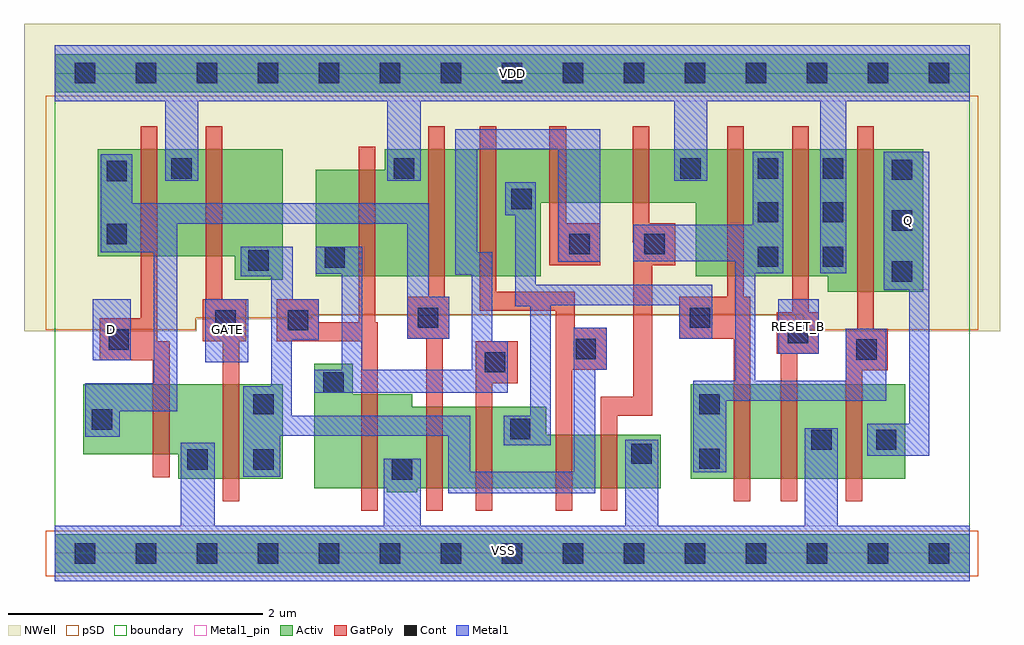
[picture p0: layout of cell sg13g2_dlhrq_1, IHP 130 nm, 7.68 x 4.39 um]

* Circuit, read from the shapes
.subckt sg13g2_dlhrq_1 D GATE Q RESET_B VDD VSS
XM1 VSS D n1 VSS sg13_lv_nmos w=0.55u l=0.13u
XM2 n2 GATE VSS VSS sg13_lv_nmos w=0.74u l=0.13u
XM3 VSS n2 n3 VSS sg13_lv_nmos w=0.74u l=0.13u
XM4 n4 n1 VSS VSS sg13_lv_nmos w=0.64u l=0.13u
XM5 n5 n3 n4 VSS sg13_lv_nmos w=0.64u l=0.13u
XM6 n6 n2 n5 VSS sg13_lv_nmos w=0.42u l=0.13u
XM7 VSS n7 n6 VSS sg13_lv_nmos w=0.42u l=0.13u
XM8 n8 n5 n7 VSS sg13_lv_nmos w=0.74u l=0.13u
XM9 VSS RESET_B n8 VSS sg13_lv_nmos w=0.74u l=0.13u
XM10 Q n7 VSS VSS sg13_lv_nmos w=0.74u l=0.13u
XM11 VDD D n1 VDD sg13_lv_pmos w=0.84u l=0.13u
XM12 n2 GATE VDD VDD sg13_lv_pmos w=0.84u l=0.13u
XM13 VDD n2 n3 VDD sg13_lv_pmos w=0.84u l=0.13u
XM14 n9 n1 VDD VDD sg13_lv_pmos w=1u l=0.13u
XM15 n5 n2 n9 VDD sg13_lv_pmos w=1u l=0.13u
XM16 n10 n3 n5 VDD sg13_lv_pmos w=0.42u l=0.13u
XM17 VDD n7 n10 VDD sg13_lv_pmos w=0.42u l=0.13u
XM18 n7 n5 VDD VDD sg13_lv_pmos w=1u l=0.13u
XM19 VDD RESET_B n7 VDD sg13_lv_pmos w=1u l=0.13u
XM20 Q n7 VDD VDD sg13_lv_pmos w=1.12u l=0.13u
.ends

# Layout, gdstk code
import gdstk
lib = gdstk.Library(unit=1e-6, precision=1e-09)
def R(c, l, rs):  # rectangles x0, y0, x1, y1
    for r in rs: c.add(gdstk.rectangle(r[:2], r[2:], *l))
def A(c, l, x, y, w, h, nx, ny, dx, dy):  # array of equal rectangles
    R(c, l, [(x+i*dx, y+j*dy, x+i*dx+w, y+j*dy+h) for i in range(nx) for j in range(ny)])
def P(c, l, *ps):  # polygons
    for p in ps: c.add(gdstk.Polygon(p, *l))
Activ = (1, 0)
GatPoly = (5, 0)
Cont = (6, 0)
Metal1 = (8, 0)
Metal1_pin = (8, 2)
pSD = (14, 0)
NWell = (31, 0)
boundary = (189, 4)

sg13g2_dlhrq_1 = lib.new_cell('sg13g2_dlhrq_1')
R(sg13g2_dlhrq_1, Activ, [(0,-0.15,7.2,0.15), (5.005,0.59,6.695,1.33), (0,3.63,7.2,3.93)])
P(sg13g2_dlhrq_1, Activ, [(6.085,2.06),(6.085,2.18),(5.045,2.18),(5.045,2.76),(3.825,2.76),(3.825,2.18),(2.055,2.18),(2.055,3.02),(2.6,3.02),(2.6,3.18),(6.835,3.18),(6.835,2.06)],
  [(2.615,0.48),(2.615,0.515),(2.045,0.515),(2.045,1.495),(2.345,1.495),(2.345,1.255),(2.815,1.255),(2.815,1.155),(3.87,1.155),(3.87,0.935),(4.77,0.935),(4.77,0.515),(2.855,0.515),(2.855,0.48)],
  [(0.975,0.59),(0.975,0.78),(0.225,0.78),(0.225,1.33),(1.795,1.33),(1.795,0.59)],
  [(1.42,2.155),(1.42,2.34),(0.34,2.34),(0.34,3.18),(1.795,3.18),(1.795,2.155)])
P(sg13g2_dlhrq_1, GatPoly, [(6.225,0.41),(6.225,1.77),(6.315,1.77),(6.315,3.36),(6.445,3.36),(6.445,1.77),(6.555,1.77),(6.555,1.44),(6.355,1.44),(6.355,0.41)],
  [(5.715,0.41),(5.715,1.57),(5.685,1.57),(5.685,1.9),(5.805,1.9),(5.805,3.36),(5.935,3.36),(5.935,1.9),(6.015,1.9),(6.015,1.57),(5.845,1.57),(5.845,0.41)],
  [(5.345,0.41),(5.345,1.69),(4.915,1.69),(4.915,2.02),(5.295,2.02),(5.295,3.36),(5.425,3.36),(5.425,2.02),(5.475,2.02),(5.475,0.41)],
  [(4.3,0.335),(4.3,1.235),(4.555,1.235),(4.555,2.45),(4.55,2.45),(4.55,3.36),(4.68,3.36),(4.68,2.6),(4.885,2.6),(4.885,2.27),(4.705,2.27),(4.705,1.085),(4.43,1.085),(4.43,0.335)],
  [(3.945,0.335),(3.945,1.91),(3.345,1.91),(3.345,3.36),(3.475,3.36),(3.475,2.06),(4.095,2.06),(4.095,1.775),(4.345,1.775),(4.345,1.445),(4.075,1.445),(4.075,0.335)],
  [(3.895,2.27),(3.895,3.36),(4.025,3.36),(4.025,2.6),(4.295,2.6),(4.295,2.27)],
  [(3.315,0.335),(3.315,1.67),(3.645,1.67),(3.645,1.34),(3.445,1.34),(3.445,0.335)],
  [(2.925,0.335),(2.925,1.69),(2.775,1.69),(2.775,2.02),(2.94,2.02),(2.94,3.36),(3.07,3.36),(3.07,2.02),(3.105,2.02),(3.105,1.69),(3.055,1.69),(3.055,0.335)],
  [(2.415,0.335),(2.415,1.67),(1.75,1.67),(1.75,2),(2.08,2),(2.08,1.82),(2.395,1.82),(2.395,3.2),(2.525,3.2),(2.525,1.82),(2.545,1.82),(2.545,0.335)],
  [(1.325,0.41),(1.325,1.67),(1.165,1.67),(1.165,2),(1.19,2),(1.19,3.36),(1.32,3.36),(1.32,2),(1.51,2),(1.51,1.67),(1.455,1.67),(1.455,0.41)],
  [(0.775,0.6),(0.775,1.52),(0.355,1.52),(0.355,1.85),(0.68,1.85),(0.68,3.36),(0.81,3.36),(0.81,1.67),(0.905,1.67),(0.905,0.6)])
A(sg13g2_dlhrq_1, Cont, 0.16, -0.08, 0.16, 0.16, 15, 2, 0.48, 3.78)
A(sg13g2_dlhrq_1, Cont, 6.59, 2.14, 0.16, 0.16, 1, 3, 0, 0.4)
R(sg13g2_dlhrq_1, Cont, [(2.655,0.58,2.815,0.74), (1.045,0.66,1.205,0.82), (1.565,0.66,1.725,0.82), (5.075,0.665,5.235,0.825), (4.54,0.705,4.7,0.865), (5.955,0.815,6.115,0.975), (6.465,0.815,6.625,0.975), (3.585,0.9,3.745,1.06), (0.295,0.975,0.455,1.135), (1.565,1.095,1.725,1.255), (5.075,1.095,5.235,1.255), (2.115,1.265,2.275,1.425), (3.385,1.425,3.545,1.585), (6.31,1.525,6.47,1.685), (4.1,1.53,4.26,1.69), (0.425,1.605,0.585,1.765), (5.77,1.655,5.93,1.815), (1.265,1.755,1.425,1.915), (1.835,1.755,1.995,1.915), (2.86,1.775,3.02,1.935), (5,1.775,5.16,1.935), (1.525,2.225,1.685,2.385), (2.125,2.25,2.285,2.41), (5.535,2.255,5.695,2.415), (6.045,2.255,6.205,2.415), (4.05,2.355,4.21,2.515), (4.64,2.355,4.8,2.515), (0.41,2.435,0.57,2.595), (5.535,2.605,5.695,2.765), (6.045,2.605,6.205,2.765), (3.595,2.71,3.755,2.87), (0.41,2.93,0.57,3.09), (0.92,2.95,1.08,3.11), (2.67,2.95,2.83,3.11), (4.925,2.95,5.085,3.11), (5.535,2.95,5.695,3.11), (6.045,2.95,6.205,3.11)])
R(sg13g2_dlhrq_1, Metal1, [(1.185,1.505,1.525,2), (0.3,1.52,0.6,2), (5.695,1.57,6.015,2)])
P(sg13g2_dlhrq_1, Metal1, [(0,-0.22),(0,0.22),(0.995,0.22),(0.995,0.87),(1.26,0.87),(1.26,0.22),(2.59,0.22),(2.59,0.745),(2.88,0.745),(2.88,0.22),(4.49,0.22),(4.49,0.895),(4.75,0.895),(4.75,0.22),(5.905,0.22),(5.905,0.985),(6.165,0.985),(6.165,0.22),(7.2,0.22),(7.2,-0.22)],
  [(6.025,2.205),(6.025,3.56),(5.135,3.56),(5.135,2.935),(4.875,2.935),(4.875,3.56),(2.88,3.56),(2.88,2.935),(2.62,2.935),(2.62,3.56),(1.13,3.56),(1.13,2.935),(0.87,2.935),(0.87,3.56),(0,3.56),(0,4),(7.2,4),(7.2,3.56),(6.23,3.56),(6.23,2.205)],
  [(6.395,0.77),(6.395,1.02),(6.725,1.02),(6.725,2.075),(6.525,2.075),(6.525,3.16),(6.885,3.16),(6.885,0.77)],
  [(5.025,0.64),(5.025,1.36),(5.355,1.36),(5.355,2.3),(4.555,2.3),(4.555,2.585),(5.495,2.585),(5.495,3.16),(5.735,3.16),(5.735,2.205),(5.515,2.205),(5.515,1.36),(6.225,1.36),(6.225,1.77),(6.545,1.77),(6.545,1.2),(5.285,1.2),(5.285,0.64)],
  [(3.535,0.85),(3.535,1.085),(3.745,1.085),(3.745,1.945),(3.625,1.945),(3.625,2.66),(3.545,2.66),(3.545,2.92),(3.785,2.92),(3.785,2.115),(5.175,2.115),(5.175,1.69),(4.915,1.69),(4.915,1.955),(3.905,1.955),(3.905,0.85)],
  [(3.1,0.475),(3.1,0.925),(1.775,0.925),(1.775,0.605),(1.485,0.605),(1.485,1.315),(1.705,1.315),(1.705,2.18),(1.465,2.18),(1.465,2.415),(1.875,2.415),(1.875,2),(2.08,2),(2.08,1.68),(1.865,1.68),(1.865,1.085),(3.27,1.085),(3.27,0.645),(4.085,0.645),(4.085,1.775),(4.345,1.775),(4.345,1.445),(4.255,1.445),(4.255,0.475)],
  [(2.045,1.265),(2.045,1.445),(2.26,1.445),(2.26,2.2),(2.055,2.2),(2.055,2.415),(2.42,2.415),(2.42,1.445),(3.285,1.445),(3.285,2.195),(3.155,2.195),(3.155,3.34),(4.295,3.34),(4.295,2.295),(3.965,2.295),(3.965,3.18),(3.325,3.18),(3.325,2.37),(3.445,2.37),(3.445,1.67),(3.565,1.67),(3.565,1.265)],
  [(0.24,0.92),(0.24,1.34),(0.78,1.34),(0.78,2.37),(0.365,2.37),(0.365,3.14),(0.61,3.14),(0.61,2.755),(2.945,2.755),(2.945,2.02),(3.105,2.02),(3.105,1.69),(2.775,1.69),(2.775,2.595),(0.965,2.595),(0.965,1.12),(0.515,1.12),(0.515,0.92)])
R(sg13g2_dlhrq_1, Metal1_pin, [(0,-0.22,7.2,0.22), (1.185,1.505,1.525,2), (0.3,1.52,0.6,2), (5.695,1.57,6.015,2), (6.525,2.075,6.885,3.16), (0,3.56,7.2,4)])
R(sg13g2_dlhrq_1, pSD, [(-0.07,-0.18,7.27,0.18)])
P(sg13g2_dlhrq_1, pSD, [(-0.07,1.76),(-0.07,3.6),(7.27,3.6),(7.27,1.76),(5.89,1.76),(5.89,1.88),(2.02,1.88),(2.02,1.855),(1.11,1.855),(1.11,1.76)])
P(sg13g2_dlhrq_1, NWell, [(-0.24,1.75),(-0.24,4.17),(7.44,4.17),(7.44,1.75),(5.83,1.75),(5.83,1.87),(2.03,1.87),(2.03,1.845),(1.12,1.845),(1.12,1.75)])
R(sg13g2_dlhrq_1, boundary, [(0,0,7.2,3.78)])
sg13g2_dlhrq_1.add(gdstk.Label('Q', (6.72,2.62), layer=8, texttype=25))
sg13g2_dlhrq_1.add(gdstk.Label('D', (0.445,1.765), layer=8, texttype=25))
sg13g2_dlhrq_1.add(gdstk.Label('RESET_B', (5.855,1.785), layer=8, texttype=25))
sg13g2_dlhrq_1.add(gdstk.Label('GATE', (1.36,1.765), layer=8, texttype=25))
sg13g2_dlhrq_1.add(gdstk.Label('VDD', (3.605,3.78), layer=8, texttype=25))
sg13g2_dlhrq_1.add(gdstk.Label('VSS', (3.535,0.02), layer=8, texttype=25))

lib.write_gds('sg13g2_dlhrq_1.gds')
